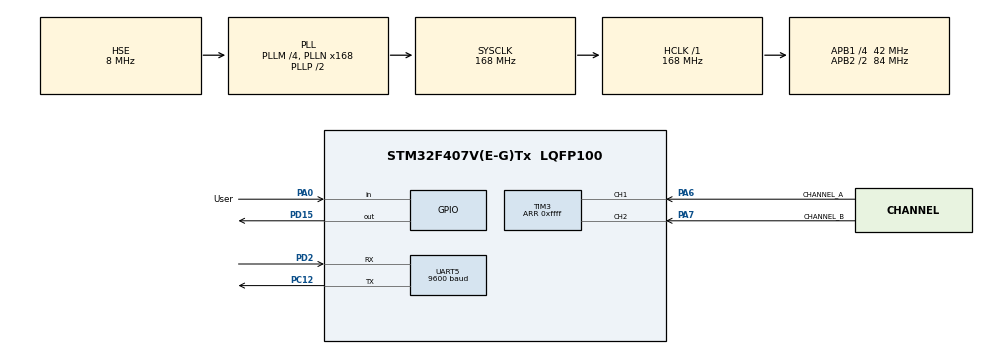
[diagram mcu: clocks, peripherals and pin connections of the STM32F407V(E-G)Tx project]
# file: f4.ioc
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Mcu.Family=STM32F4
Mcu.Name=STM32F407V(E-G)Tx
Mcu.Package=LQFP100
NVIC.PriorityGroup=NVIC_PRIORITYGROUP_4
NVIC.TIM3_IRQn=true\:0\:0\:false\:false\:true\:true\:true\:true
PA0-WKUP.GPIO_Label=User
PA0-WKUP.GPIO_PuPd=GPIO_NOPULL
PA0-WKUP.Signal=GPIO_Input
PA13.Mode=Serial_Wire
PA13.Signal=SYS_JTMS-SWDIO
PA14.Mode=Serial_Wire
PA14.Signal=SYS_JTCK-SWCLK
PA6.GPIO_Label=CHANNEL_A
PA6.Signal=S_TIM3_CH1
PA7.GPIO_Label=CHANNEL_B
PA7.Signal=S_TIM3_CH2
PC12.Mode=Asynchronous
PC12.Signal=UART5_TX
PD15.Signal=GPIO_Output
PD2.Mode=Asynchronous
PD2.Signal=UART5_RX
PH0-OSC_IN.Mode=HSE-External-Oscillator
PH0-OSC_IN.Signal=RCC_OSC_IN
PH1-OSC_OUT.Mode=HSE-External-Oscillator
PH1-OSC_OUT.Signal=RCC_OSC_OUT
ProjectManager.HeapSize=0x200
ProjectManager.StackSize=0x400
ProjectManager.TargetToolchain=STM32CubeIDE
RCC.48MHZClocksFreq_Value=84000000
RCC.AHBFreq_Value=168000000
RCC.APB1CLKDivider=RCC_HCLK_DIV4
RCC.APB1Freq_Value=42000000
RCC.APB1TimFreq_Value=84000000
RCC.APB2CLKDivider=RCC_HCLK_DIV2
RCC.APB2Freq_Value=84000000
RCC.APB2TimFreq_Value=168000000
RCC.CortexFreq_Value=168000000
RCC.HCLKFreq_Value=168000000
RCC.HSE_VALUE=8000000
RCC.HSI_VALUE=16000000
RCC.LSE_VALUE=32768
RCC.PLLM=4
RCC.PLLN=168
RCC.PLLSourceVirtual=RCC_PLLSOURCE_HSE
RCC.SYSCLKFreq_VALUE=168000000
RCC.SYSCLKSource=RCC_SYSCLKSOURCE_PLLCLK
RCC.VCOOutputFreq_Value=336000000
SH.S_TIM3_CH1.0=TIM3_CH1,Encoder_Interface
SH.S_TIM3_CH2.0=TIM3_CH2,Encoder_Interface
TIM3.EncoderMode=TIM_ENCODERMODE_TI12
TIM3.IC1Filter=10
TIM3.IC1Polarity=TIM_ICPOLARITY_FALLING
TIM3.IC2Filter=10
TIM3.IC2Polarity=TIM_ICPOLARITY_FALLING
TIM3.Period=0xffff
UART5.BaudRate=9600
UART5.VirtualMode=Asynchronous
UART5.WordLength=WORDLENGTH_8B
board=custom

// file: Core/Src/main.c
/* USER CODE BEGIN Header */
/**
  ******************************************************************************
  * @file           : main.c
  * @brief          : Main program body
  ******************************************************************************
  * @attention
  *
  * Copyright (c) 2022 STMicroelectronics.
  * All rights reserved.
  *
  * This software is licensed under terms that can be found in the LICENSE file
  * in the root directory of this software component.
  * If no LICENSE file comes with this software, it is provided AS-IS.
  *
  ******************************************************************************
  */
/* USER CODE END Header */
#include "main.h"

TIM_HandleTypeDef htim3;

UART_HandleTypeDef huart5;

void SystemClock_Config(void);
static void MX_GPIO_Init(void);
static void MX_TIM3_Init(void);
static void MX_UART5_Init(void);

/* USER CODE BEGIN 0 */
 uint32_t encoder_counter = 0;
 int16_t encoder_count = 0;
 int16_t angle=0;
char string[16];
//Function interrupt encoder timer mode
void HAL_TIM_IC_CaptureCallback(TIM_HandleTypeDef *htim){//htim points to the start timer
	  encoder_counter = __HAL_TIM_GetCounter(&htim3);//read TIM3 counter value
	  encoder_count = (int16_t)encoder_counter; //convert type
	  angle = (encoder_count)*6; // 1 rotation step = 6 degrees

	  // the limit steering angle  = +- 714
	  // encoder angle passes the limit steering angle
	  if (angle >714 ){
		  encoder_counter =0;
		  encoder_count =0;
		  angle= 0 ;
	  }
	  if (angle <-714){
		  encoder_counter = 0;
		 		  encoder_count = 0;
		 		  angle=0;
	  }
	 /* int tram = angle/100;
	  string[0]= tram;
	  int chuc = (angle%100)/10;
	  string[1]= chuc;
	  int donvi = (angle%100)%10;
	  string[2]= donvi;
	  */
}

/* USER CODE END 0 */

int main(void)
{
  /* USER CODE BEGIN 1 */
	//uint8_t message[50] = {'\0'};
  /* USER CODE END 1 */

  /* MCU Configuration--------------------------------------------------------*/

  /* Reset of all peripherals, Initia lizes the Flash interface and the Systick. */
  HAL_Init();

  /* Configure the system clock */
  SystemClock_Config();

  /* Initialize all configured peripherals */
  MX_GPIO_Init();
  MX_TIM3_Init();
  MX_UART5_Init();
  /* USER CODE BEGIN 2 */
  //Starting encoder timer mode at 2 channels, includes channel A and channel B
  HAL_TIM_Encoder_Start_IT(&htim3, TIM_CHANNEL_ALL);
  /* USER CODE END 2 */

  /* Infinite loop */
  /* USER CODE BEGIN WHILE */
  //char target1[1];
  //sprintf(target1, "%d\n", angle);
//char chuoi[10];
  while (1)
  {
	 // HAL_GPIO_TogglePin(GPIOD, GPIO_PIN_15);
  //HAL_Delay(500);

	//  HAL_UART_Transmit(&huart5, &string, 1, 1000);
	  //int status = HAL_GPIO_ReadPin(CHANNEL_A_GPIO_Port, CHANNEL_A_Pin);
	  // Using user button to reset the steering angle
	  int reset = HAL_GPIO_ReadPin(User_GPIO_Port, User_Pin);
	  if (reset == 1 ){
		  angle = 0;
	  }
	  //Sends an amount of data in blocking mode and convert type from int16_t to char
	 HAL_UART_Transmit(&huart5, (char*)string,sprintf(string, "%d\n\r", angle), 100);
	 //HAL_UART_Transmit(&huart5, (uint8_t*)chuoi, sprintf(chuoi, "%d", status), 2);
	 // HAL_UART_Transmit(&huart5,&angle,2,1000);
	// HAL_UART_Transmit(&huart5,&angle,sizeof(angle),1000);
	  HAL_Delay(500);// delay transmit

    /* USER CODE END WHILE */

  }
}

void SystemClock_Config(void)
{
  RCC_OscInitTypeDef RCC_OscInitStruct = {0};
  RCC_ClkInitTypeDef RCC_ClkInitStruct = {0};

  /** Configure the main internal regulator output voltage
  */
  __HAL_RCC_PWR_CLK_ENABLE();
  __HAL_PWR_VOLTAGESCALING_CONFIG(PWR_REGULATOR_VOLTAGE_SCALE1);

  /** Initializes the RCC Oscillators according to the specified parameters
  * in the RCC_OscInitTypeDef structure.
  */
  RCC_OscInitStruct.OscillatorType = RCC_OSCILLATORTYPE_HSE;
  RCC_OscInitStruct.HSEState = RCC_HSE_ON;
  RCC_OscInitStruct.PLL.PLLState = RCC_PLL_ON;
  RCC_OscInitStruct.PLL.PLLSource = RCC_PLLSOURCE_HSE;
  RCC_OscInitStruct.PLL.PLLM = 4;
  RCC_OscInitStruct.PLL.PLLN = 168;
  RCC_OscInitStruct.PLL.PLLP = RCC_PLLP_DIV2;
  RCC_OscInitStruct.PLL.PLLQ = 4;
  if (HAL_RCC_OscConfig(&RCC_OscInitStruct) != HAL_OK)
  {
    Error_Handler();
  }

  /** Initializes the CPU, AHB and APB buses clocks
  */
  RCC_ClkInitStruct.ClockType = RCC_CLOCKTYPE_HCLK|RCC_CLOCKTYPE_SYSCLK
                              |RCC_CLOCKTYPE_PCLK1|RCC_CLOCKTYPE_PCLK2;
  RCC_ClkInitStruct.SYSCLKSource = RCC_SYSCLKSOURCE_PLLCLK;
  RCC_ClkInitStruct.AHBCLKDivider = RCC_SYSCLK_DIV1;
  RCC_ClkInitStruct.APB1CLKDivider = RCC_HCLK_DIV4;
  RCC_ClkInitStruct.APB2CLKDivider = RCC_HCLK_DIV2;

  if (HAL_RCC_ClockConfig(&RCC_ClkInitStruct, FLASH_LATENCY_5) != HAL_OK)
  {
    Error_Handler();
  }
}

static void MX_TIM3_Init(void)
{

  TIM_Encoder_InitTypeDef sConfig = {0};
  TIM_MasterConfigTypeDef sMasterConfig = {0};

  htim3.Instance = TIM3;
  htim3.Init.Prescaler = 0;
  htim3.Init.CounterMode = TIM_COUNTERMODE_UP;
  htim3.Init.Period = 0xffff;
  htim3.Init.ClockDivision = TIM_CLOCKDIVISION_DIV1;
  htim3.Init.AutoReloadPreload = TIM_AUTORELOAD_PRELOAD_DISABLE;
  sConfig.EncoderMode = TIM_ENCODERMODE_TI12;
  sConfig.IC1Polarity = TIM_ICPOLARITY_FALLING;
  sConfig.IC1Selection = TIM_ICSELECTION_DIRECTTI;
  sConfig.IC1Prescaler = TIM_ICPSC_DIV1;
  sConfig.IC1Filter = 10;
  sConfig.IC2Polarity = TIM_ICPOLARITY_FALLING;
  sConfig.IC2Selection = TIM_ICSELECTION_DIRECTTI;
  sConfig.IC2Prescaler = TIM_ICPSC_DIV1;
  sConfig.IC2Filter = 10;
  if (HAL_TIM_Encoder_Init(&htim3, &sConfig) != HAL_OK)
  {
    Error_Handler();
  }
  sMasterConfig.MasterOutputTrigger = TIM_TRGO_RESET;
  sMasterConfig.MasterSlaveMode = TIM_MASTERSLAVEMODE_DISABLE;
  if (HAL_TIMEx_MasterConfigSynchronization(&htim3, &sMasterConfig) != HAL_OK)
  {
    Error_Handler();
  }

}

static void MX_UART5_Init(void)
{

  huart5.Instance = UART5;
  huart5.Init.BaudRate = 9600;
  huart5.Init.WordLength = UART_WORDLENGTH_8B;
  huart5.Init.StopBits = UART_STOPBITS_1;
  huart5.Init.Parity = UART_PARITY_NONE;
  huart5.Init.Mode = UART_MODE_TX_RX;
  huart5.Init.HwFlowCtl = UART_HWCONTROL_NONE;
  huart5.Init.OverSampling = UART_OVERSAMPLING_16;
  if (HAL_UART_Init(&huart5) != HAL_OK)
  {
    Error_Handler();
  }

}

static void MX_GPIO_Init(void)
{
  GPIO_InitTypeDef GPIO_InitStruct = {0};

  /* GPIO Ports Clock Enable */
  __HAL_RCC_GPIOH_CLK_ENABLE();
  __HAL_RCC_GPIOA_CLK_ENABLE();
  __HAL_RCC_GPIOD_CLK_ENABLE();
  __HAL_RCC_GPIOC_CLK_ENABLE();

  /*Configure GPIO pin Output Level */
  HAL_GPIO_WritePin(GPIOD, GPIO_PIN_15, GPIO_PIN_RESET);

  /*Configure GPIO pin : User_Pin */
  GPIO_InitStruct.Pin = User_Pin;
  GPIO_InitStruct.Mode = GPIO_MODE_INPUT;
  GPIO_InitStruct.Pull = GPIO_NOPULL;
  HAL_GPIO_Init(User_GPIO_Port, &GPIO_InitStruct);

  /*Configure GPIO pin : PD15 */
  GPIO_InitStruct.Pin = GPIO_PIN_15;
  GPIO_InitStruct.Mode = GPIO_MODE_OUTPUT_PP;
  GPIO_InitStruct.Pull = GPIO_NOPULL;
  GPIO_InitStruct.Speed = GPIO_SPEED_FREQ_LOW;
  HAL_GPIO_Init(GPIOD, &GPIO_InitStruct);

}

void Error_Handler(void)
{
  __disable_irq();
  while (1)
  {
  }
}
